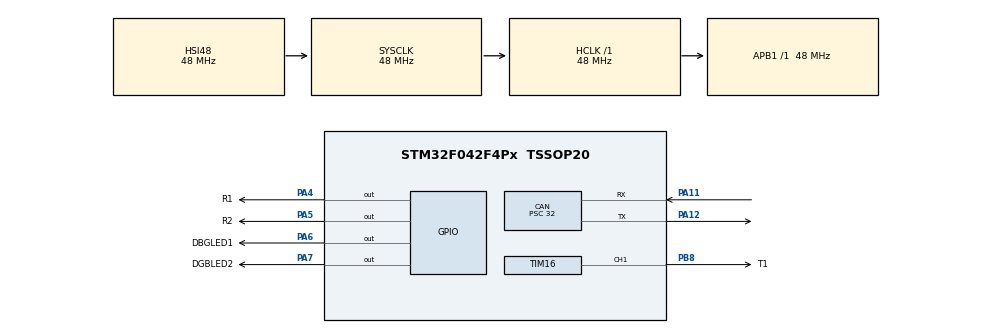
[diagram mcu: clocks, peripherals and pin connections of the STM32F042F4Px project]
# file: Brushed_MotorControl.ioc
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CAN.BS1=CAN_BS1_10TQ
CAN.CalculateBaudRate=125000
CAN.CalculateTimeBit=8000
CAN.CalculateTimeQuantum=666.6666666666666
CAN.Prescaler=32
Mcu.Family=STM32F0
Mcu.Name=STM32F042F4Px
Mcu.Package=TSSOP20
NVIC.CEC_CAN_IRQn=true\:0\:0\:false\:false\:true\:true\:true\:true
PA11.Mode=CAN_Activate
PA11.Signal=CAN_RX
PA12.Mode=CAN_Activate
PA12.Signal=CAN_TX
PA13.Mode=Serial_Wire
PA13.Signal=SYS_SWDIO
PA14.Mode=Serial_Wire
PA14.Signal=SYS_SWCLK
PA4.GPIO_Label=R1
PA4.Signal=GPIO_Output
PA5.GPIO_Label=R2
PA5.Signal=GPIO_Output
PA6.GPIO_Label=DBGLED1
PA6.Signal=GPIO_Output
PA7.GPIO_Label=DGBLED2
PA7.Signal=GPIO_Output
PB8.GPIO_Label=T1
PB8.Signal=S_TIM16_CH1
ProjectManager.HeapSize=0x200
ProjectManager.StackSize=0x400
ProjectManager.TargetToolchain=STM32CubeIDE
RCC.AHBFreq_Value=48000000
RCC.APB1Freq_Value=48000000
RCC.APB1TimFreq_Value=48000000
RCC.HCLKFreq_Value=48000000
RCC.SYSCLKFreq_VALUE=48000000
RCC.SYSCLKSource=RCC_SYSCLKSOURCE_HSI48
SH.S_TIM16_CH1.0=TIM16_CH1,PWM Generation1 CH1
TIM16.Channel=TIM_CHANNEL_1
TIM16.Period=2399
VP_SYS_VS_PINREMAP.Mode=PINREMAP
VP_TIM16_VS_ClockSourceINT.Mode=Enable_Timer
board=custom

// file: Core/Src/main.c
/* USER CODE BEGIN Header */
/**
  ******************************************************************************
  * @file           : main.c
  * @brief          : Main program body
  ******************************************************************************
  * @attention
  *
  * Copyright (c) 2025 STMicroelectronics.
  * All rights reserved.
  *
  * This software is licensed under terms that can be found in the LICENSE file
  * in the root directory of this software component.
  * If no LICENSE file comes with this software, it is provided AS-IS.
  *
  ******************************************************************************
  */
/* USER CODE END Header */
#include "main.h"

/* USER CODE BEGIN PD */
#define CAN_ACTIVATE_NOTIF_TIMEOUT 1000
#define DASHBOARD_CANID 0x0012
#define ACC_ID 3
#define TRANS_DEBOUNCE_LOOPS 50

//#define MAIN_CODE // Define if running the actual program, comment out the rest

// Below are functions created for unit testing
	// Uncomment them as necessary

#define UNIT_PWM_TEST
/* USER CODE END PD */

CAN_HandleTypeDef hcan;

TIM_HandleTypeDef htim16;

/* USER CODE BEGIN PV */
uint8_t RxMessage[8];
volatile uint8_t speed = 0; // No optimization
CAN_caTypeDef RxHeader;
uint8_t updateFlag;
uint32_t tick;
uint8_t REST_DRIVE_COUNT;
uint8_t DRIVE_DECAY_COUNT;
uint8_t DECAY_DRIVE_COUNT;
uint8_t DECAY_REST_COUNT;

/* USER CODE END PV */

void SystemClock_Config(void);
static void MX_GPIO_Init(void);
static void MX_CAN_Init(void);
static void MX_TIM16_Init(void);

/* USER CODE BEGIN 0 */
#ifdef MAIN_CODE
typedef enum{
	REST,
	DRIVE,
	SLOW_DECAY
}CAR_STATE;

volatile CAR_STATE current_state; // no optimization

void HAL_CAN_RxFifo0MsgPendingCallback(CAN_HandleTypeDef *can){
	if(HAL_CAN_GetRxMessage(can,CAN_FILTER_FIFO0, &RxHeader, RxMessage ) == HAL_OK){

		HAL_GPIO_TogglePin(DBGLED1_GPIO_Port, DBGLED1_Pin);
//		if(RxHeader.StdId == ACC_ID){
			speed = (uint8_t)RxMessage[0];

//		}
	}
}
void update_car_state(){
	switch(current_state){
		case REST:
			// High Side Siwtch is Off, Low Side Switch is Off
			HAL_GPIO_WritePin(GPIOA, GPIO_PIN_5, GPIO_PIN_RESET);
			HAL_GPIO_WritePin(GPIOA, GPIO_PIN_4, GPIO_PIN_RESET);
			TIM16->CCR1 = 0;

			if(speed>0){
				REST_DRIVE_COUNT += 1;
			}
			else{
				REST_DRIVE_COUNT = 0;
			}
			if(REST_DRIVE_COUNT > TRANS_DEBOUNCE_LOOPS){
				current_state = DRIVE;
				REST_DRIVE_COUNT = 0;
			}
			break;

		case DRIVE:

			// High Side Siwtch is On, Low Side Switch is On
			HAL_GPIO_WritePin(GPIOA, GPIO_PIN_5, GPIO_PIN_SET); // R2
			HAL_GPIO_WritePin(GPIOA, GPIO_PIN_4, GPIO_PIN_SET); // R1

			TIM16->CCR1 = (uint32_t)(((uint32_t)speed * TIM16->ARR * 8) / (25 * 10));
			// 80% is the max duty cycle, speed ranges from 0-25

			if(speed == 0){
				DRIVE_DECAY_COUNT += 1;
			}
			else{
				DRIVE_DECAY_COUNT = 0;
			}
			if(DRIVE_DECAY_COUNT > TRANS_DEBOUNCE_LOOPS){
				current_state = SLOW_DECAY;
				DRIVE_DECAY_COUNT = 0;
			}
			break;

		case SLOW_DECAY:
			// High Side Siwtch is Off, Low Side Switch is On
			TIM16->CCR1 = 0;
			HAL_GPIO_WritePin(GPIOA, GPIO_PIN_4, GPIO_PIN_RESET); // R1
			HAL_GPIO_WritePin(GPIOA, GPIO_PIN_5, GPIO_PIN_SET); // R2
			if(speed == 0 ){
				DECAY_DRIVE_COUNT = 0;
				DECAY_REST_COUNT += 1;
			}
			else{
				DECAY_REST_COUNT = 0;
				DECAY_DRIVE_COUNT += 1;
			}
			if(DECAY_DRIVE_COUNT > TRANS_DEBOUNCE_LOOPS){
				DECAY_REST_COUNT = 0;
				DECAY_DRIVE_COUNT = 0;
				current_state = DRIVE;
			}
			else if(DECAY_REST_COUNT > TRANS_DEBOUNCE_LOOPS){
				DECAY_REST_COUNT = 0;
				DECAY_DRIVE_COUNT = 0;
				current_state = REST;

			}
			break;
		default:
			TIM16->CCR1 = 0;
			HAL_GPIO_WritePin(GPIOA, GPIO_PIN_4, GPIO_PIN_RESET); // R1
			HAL_GPIO_WritePin(GPIOA, GPIO_PIN_5, GPIO_PIN_RESET); // R2
			current_state = REST;
			DECAY_REST_COUNT = DECAY_DRIVE_COUNT = DRIVE_DECAY_COUNT = REST_DRIVE_COUNT = 0;
			break;
	}
}
#endif
#ifdef UNIT_PWM_TEST
// This function tests the PMW output for Speed 0 to 25, which corresponds to 0 to 100% Duty Cycle
void PWM_UNIT_TEST(){ 	// Use Debug Mode and make sure the PWM looks right, then right it in real time
//	int counter = 0 ;
	// Ensures that the PWM hardware is on
	HAL_TIM_PWM_Start(&htim16, TIM_CHANNEL_1);

	//** Going from Speed = 0 to 25 BEGIN **
	for(int speedtest = 0; speedtest <26; speedtest++){

		TIM16->CCR1 = (uint32_t)(((uint32_t)speedtest * TIM16->ARR * 8) / (25 * 10));
	}
	// Skipping by 2
	for(int speedtest = 0; speedtest <26; speedtest++){

		TIM16->CCR1 = (uint32_t)(((uint32_t)speedtest * TIM16->ARR * 8) / (25 * 10));
		speedtest+=1;
	}
	// Skipping by 5
	for(int speedtest = 0; speedtest <26; speedtest++){
		TIM16->CCR1 = (uint32_t)(((uint32_t)speedtest * TIM16->ARR * 8) / (25 * 10));
		speedtest+=4;
	}

	// Skipping by 10
	for(int speedtest = 0; speedtest <26; speedtest++){
		TIM16->CCR1 = (uint32_t)(((uint32_t)speedtest * TIM16->ARR * 8) / (25 * 10));
		speedtest+=9;
	}
	// Speed 0 Spike to Speed 25
	for(int speedtest = 0; speedtest <26; speedtest++){
		TIM16->CCR1 = (uint32_t)(((uint32_t)speedtest * TIM16->ARR * 8) / (25 * 10));
		speedtest+=24;
	}

	//** END**

	// **Going from Speed = 25 to 0 BEGIN **

	// **END**

	// ** Possible Implementation Update Speed once say 250ms (loop updates at least once every 250ms)
		// If speed difference is >=5 update by steps of 5 only to minimizing spikes
		// If speed difference is <5 update by the difference
	//TODO Verify if Steps of 5 Can be Handle through LOAD + Capacitor + Heat Tolerance + Motor Resistance

}

#endif

/* USER CODE END 0 */

int main(void)
{

  /* MCU Configuration--------------------------------------------------------*/

  /* Reset of all peripherals, Initializes the Flash interface and the Systick. */
  HAL_Init();

  /* Configure the system clock */
  SystemClock_Config();

  /* Initialize all configured peripherals */
  MX_GPIO_Init();
  MX_CAN_Init();
  MX_TIM16_Init();
  /* USER CODE BEGIN 2 */
	#ifdef MAIN_CODE
  updateFlag = 0;
  REST_DRIVE_COUNT = 0;
  DRIVE_DECAY_COUNT = 0;
  DECAY_DRIVE_COUNT = 0;
  DECAY_REST_COUNT = 0;
  current_state = REST ;
	#endif

  HAL_CAN_Start(&hcan);
  HAL_CAN_ActivateNotification(&hcan, CAN_ACTIVATE_NOTIF_TIMEOUT);
  // Activate the PWM Hardware Here

  HAL_TIM_PWM_Start(&htim16, TIM_CHANNEL_1);

  tick = HAL_GetTick();
  /* USER CODE END 2 */

  /* Infinite loop */
  while (1)
  {

    /* USER CODE BEGIN 3 */

	#ifdef MAIN_CODE
	uint32_t PRIMASK_STATE =  __get_PRIMASK();// Store the Current State of the Interrupts in (PRIMASK)
//	// Note: CPSID i sets PRIMASK to 1 (disable) and CPSIE i clears PRIMASK to 0 (enables)
	__disable_irq(); // This is an Critical Section because we want to Update the Relay  without disruption
	if(HAL_GetTick() - tick >= 10){ // 10ms * 50 loops = 500ms (min) between each state transition
		update_car_state();
		tick = HAL_GetTick();
	}

	__set_PRIMASK(PRIMASK_STATE);
//	__enable_irq();
	#endif

  }
  /* USER CODE END 3 */
}

void SystemClock_Config(void)
{
  RCC_OscInitTypeDef RCC_OscInitStruct = {0};
  RCC_ClkInitTypeDef RCC_ClkInitStruct = {0};

  /** Initializes the RCC Oscillators according to the specified parameters
  * in the RCC_OscInitTypeDef structure.
  */
  RCC_OscInitStruct.OscillatorType = RCC_OSCILLATORTYPE_HSI48;
  RCC_OscInitStruct.HSI48State = RCC_HSI48_ON;
  RCC_OscInitStruct.PLL.PLLState = RCC_PLL_NONE;
  if (HAL_RCC_OscConfig(&RCC_OscInitStruct) != HAL_OK)
  {
    Error_Handler();
  }

  /** Initializes the CPU, AHB and APB buses clocks
  */
  RCC_ClkInitStruct.ClockType = RCC_CLOCKTYPE_HCLK|RCC_CLOCKTYPE_SYSCLK
                              |RCC_CLOCKTYPE_PCLK1;
  RCC_ClkInitStruct.SYSCLKSource = RCC_SYSCLKSOURCE_HSI48;
  RCC_ClkInitStruct.AHBCLKDivider = RCC_SYSCLK_DIV1;
  RCC_ClkInitStruct.APB1CLKDivider = RCC_HCLK_DIV1;

  if (HAL_RCC_ClockConfig(&RCC_ClkInitStruct, FLASH_LATENCY_1) != HAL_OK)
  {
    Error_Handler();
  }
}

static void MX_CAN_Init(void)
{

  hcan.Instance = CAN;
  hcan.Init.Prescaler = 32;
  hcan.Init.Mode = CAN_MODE_NORMAL;
  hcan.Init.SyncJumpWidth = CAN_SJW_1TQ;
  hcan.Init.TimeSeg1 = CAN_BS1_10TQ;
  hcan.Init.TimeSeg2 = CAN_BS2_1TQ;
  hcan.Init.TimeTriggeredMode = DISABLE;
  hcan.Init.AutoBusOff = DISABLE;
  hcan.Init.AutoWakeUp = DISABLE;
  hcan.Init.AutoRetransmission = DISABLE;
  hcan.Init.ReceiveFifoLocked = DISABLE;
  hcan.Init.TransmitFifoPriority = DISABLE;
  if (HAL_CAN_Init(&hcan) != HAL_OK)
  {
    Error_Handler();
  }
  /* USER CODE BEGIN CAN_Init 2 */
  	CAN_FilterTypeDef canfilterconfig;
	canfilterconfig.FilterActivation = CAN_FILTER_ENABLE;
	canfilterconfig.FilterBank = 0;
	canfilterconfig.FilterFIFOAssignment = CAN_RX_FIFO0;
	canfilterconfig.FilterIdHigh = ACC_ID << 5;
	canfilterconfig.FilterIdLow = 0xFFFF;
	canfilterconfig.FilterMaskIdHigh = 0xFFFF;
	canfilterconfig.FilterMaskIdLow = 0xFFFF;
	canfilterconfig.FilterMode = CAN_FILTERMODE_IDLIST;
	canfilterconfig.FilterScale = CAN_FILTERSCALE_16BIT;
	canfilterconfig.SlaveStartFilterBank = 0;

   HAL_CAN_ConfigFilter(&hcan, &canfilterconfig);

  /* USER CODE END CAN_Init 2 */

}

static void MX_TIM16_Init(void)
{

  TIM_OC_InitTypeDef sConfigOC = {0};
  TIM_BreakDeadTimeConfigTypeDef sBreakDeadTimeConfig = {0};

  htim16.Instance = TIM16;
  htim16.Init.Prescaler = 0;
  htim16.Init.CounterMode = TIM_COUNTERMODE_UP;
  htim16.Init.Period = 2399;
  htim16.Init.ClockDivision = TIM_CLOCKDIVISION_DIV1;
  htim16.Init.RepetitionCounter = 0;
  htim16.Init.AutoReloadPreload = TIM_AUTORELOAD_PRELOAD_DISABLE;
  if (HAL_TIM_Base_Init(&htim16) != HAL_OK)
  {
    Error_Handler();
  }
  if (HAL_TIM_PWM_Init(&htim16) != HAL_OK)
  {
    Error_Handler();
  }
  sConfigOC.OCMode = TIM_OCMODE_PWM1;
  sConfigOC.Pulse = 0;
  sConfigOC.OCPolarity = TIM_OCPOLARITY_HIGH;
  sConfigOC.OCNPolarity = TIM_OCNPOLARITY_HIGH;
  sConfigOC.OCFastMode = TIM_OCFAST_DISABLE;
  sConfigOC.OCIdleState = TIM_OCIDLESTATE_RESET;
  sConfigOC.OCNIdleState = TIM_OCNIDLESTATE_RESET;
  if (HAL_TIM_PWM_ConfigChannel(&htim16, &sConfigOC, TIM_CHANNEL_1) != HAL_OK)
  {
    Error_Handler();
  }
  sBreakDeadTimeConfig.OffStateRunMode = TIM_OSSR_DISABLE;
  sBreakDeadTimeConfig.OffStateIDLEMode = TIM_OSSI_DISABLE;
  sBreakDeadTimeConfig.LockLevel = TIM_LOCKLEVEL_OFF;
  sBreakDeadTimeConfig.DeadTime = 0;
  sBreakDeadTimeConfig.BreakState = TIM_BREAK_DISABLE;
  sBreakDeadTimeConfig.BreakPolarity = TIM_BREAKPOLARITY_HIGH;
  sBreakDeadTimeConfig.AutomaticOutput = TIM_AUTOMATICOUTPUT_DISABLE;
  if (HAL_TIMEx_ConfigBreakDeadTime(&htim16, &sBreakDeadTimeConfig) != HAL_OK)
  {
    Error_Handler();
  }
  HAL_TIM_MspPostInit(&htim16);

}

static void MX_GPIO_Init(void)
{
  GPIO_InitTypeDef GPIO_InitStruct = {0};

  /* GPIO Ports Clock Enable */
  __HAL_RCC_GPIOB_CLK_ENABLE();
  __HAL_RCC_GPIOA_CLK_ENABLE();

  /*Configure GPIO pin Output Level */
  HAL_GPIO_WritePin(GPIOA, R1_Pin|R2_Pin|DBGLED1_Pin|DGBLED2_Pin, GPIO_PIN_RESET);

  /*Configure GPIO pins : R1_Pin R2_Pin DBGLED1_Pin DGBLED2_Pin */
  GPIO_InitStruct.Pin = R1_Pin|R2_Pin|DBGLED1_Pin|DGBLED2_Pin;
  GPIO_InitStruct.Mode = GPIO_MODE_OUTPUT_PP;
  GPIO_InitStruct.Pull = GPIO_NOPULL;
  GPIO_InitStruct.Speed = GPIO_SPEED_FREQ_LOW;
  HAL_GPIO_Init(GPIOA, &GPIO_InitStruct);

}

void Error_Handler(void)
{
  __disable_irq();
  while (1)
  {
  }
}
